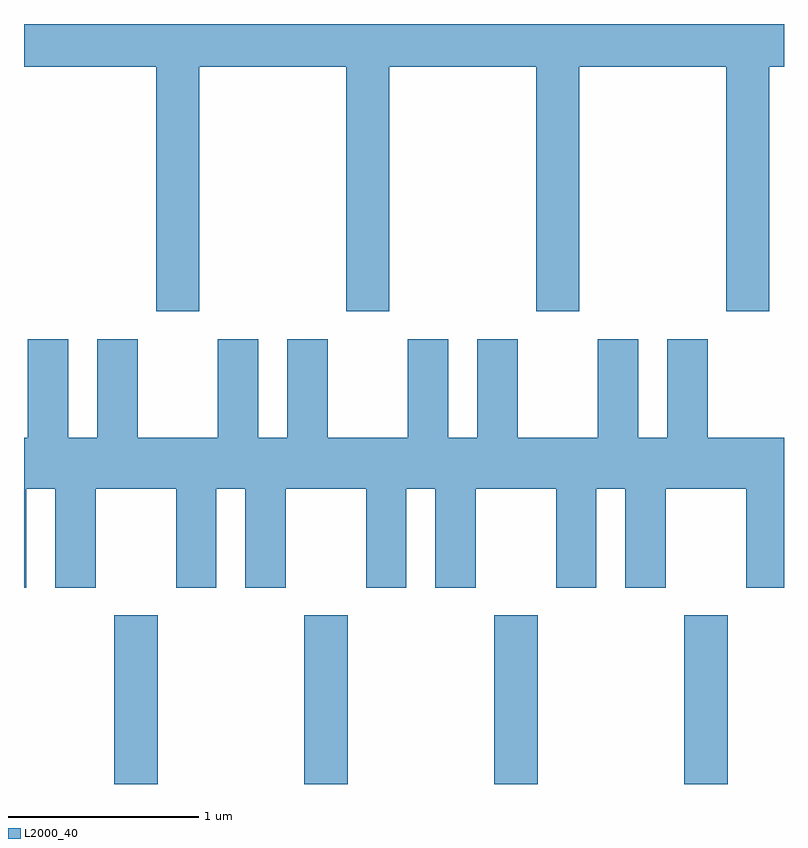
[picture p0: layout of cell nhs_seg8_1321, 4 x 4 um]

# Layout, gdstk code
import gdstk
lib = gdstk.Library(unit=1e-6, precision=1e-09)
def R(c, l, rs):  # rectangles x0, y0, x1, y1
    for r in rs: c.add(gdstk.rectangle(r[:2], r[2:], *l))
def A(c, l, x, y, w, h, nx, ny, dx, dy):  # array of equal rectangles
    R(c, l, [(x+i*dx, y+j*dy, x+i*dx+w, y+j*dy+h) for i in range(nx) for j in range(ny)])
def P(c, l, *ps):  # polygons
    for p in ps: c.add(gdstk.Polygon(p, *l))
L2000_40 = (2000, 40)

nhs_seg8_1321 = lib.new_cell('nhs_seg8_1321')
A(nhs_seg8_1321, L2000_40, 224.086, 1910.342, 0.228, 0.887, 4, 1, 1, 0)
P(nhs_seg8_1321, L2000_40, [(224.534,1914.116),(225.306,1914.116),(225.306,1912.831),(225.534,1912.831),(225.534,1914.116),(226.306,1914.116),(226.306,1912.831),(226.534,1912.831),(226.534,1914.116),(227.306,1914.116),(227.306,1912.831),(227.534,1912.831),(227.534,1914.116),(227.611,1914.116),(227.611,1914.342),(223.611,1914.342),(223.611,1914.116),(224.306,1914.116),(224.306,1912.831),(224.534,1912.831)],
  [(225.844,1912.684),(225.631,1912.684),(225.631,1912.164),(225.209,1912.164),(225.209,1912.684),(224.996,1912.684),(224.996,1912.164),(224.844,1912.164),(224.844,1912.684),(224.631,1912.684),(224.631,1912.164),(224.209,1912.164),(224.209,1912.684),(223.996,1912.684),(223.996,1912.164),(223.844,1912.164),(223.844,1912.684),(223.631,1912.684),(223.631,1912.164),(223.611,1912.164),(223.611,1911.376),(223.624,1911.376),(223.624,1911.896),(223.776,1911.896),(223.776,1911.376),(223.989,1911.376),(223.989,1911.896),(224.411,1911.896),(224.411,1911.376),(224.624,1911.376),(224.624,1911.896),(224.776,1911.896),(224.776,1911.376),(224.989,1911.376),(224.989,1911.896),(225.411,1911.896),(225.411,1911.376),(225.624,1911.376),(225.624,1911.896),(225.776,1911.896),(225.776,1911.376),(225.989,1911.376),(225.989,1911.896),(226.411,1911.896),(226.411,1911.376),(226.624,1911.376),(226.624,1911.896),(226.776,1911.896),(226.776,1911.376),(226.989,1911.376),(226.989,1911.896),(227.411,1911.896),(227.411,1911.376),(227.611,1911.376),(227.611,1912.164),(227.209,1912.164),(227.209,1912.684),(226.996,1912.684),(226.996,1912.164),(226.844,1912.164),(226.844,1912.684),(226.631,1912.684),(226.631,1912.164),(226.209,1912.164),(226.209,1912.684),(225.996,1912.684),(225.996,1912.164),(225.844,1912.164)])

lib.write_gds('nhs_seg8_1321.gds')
